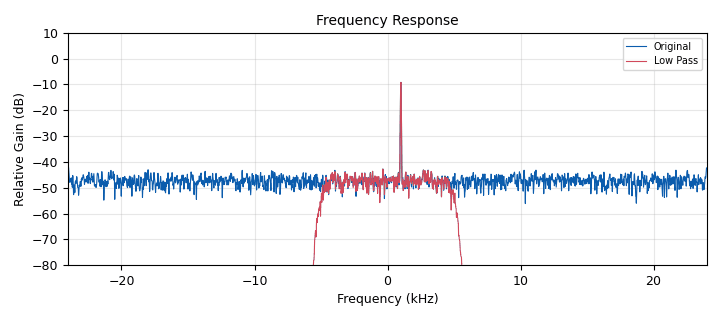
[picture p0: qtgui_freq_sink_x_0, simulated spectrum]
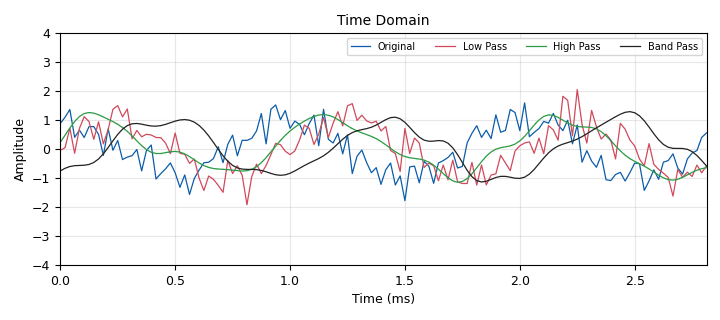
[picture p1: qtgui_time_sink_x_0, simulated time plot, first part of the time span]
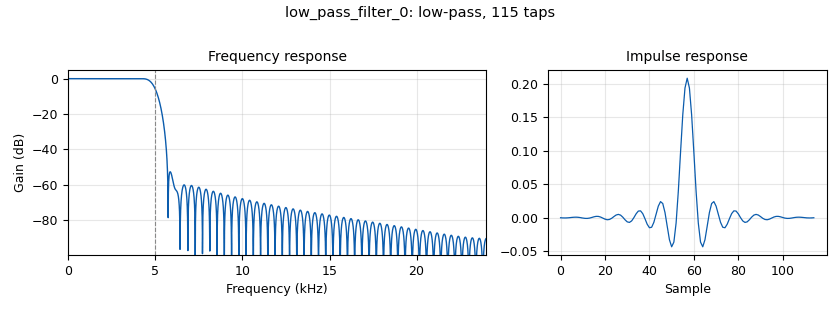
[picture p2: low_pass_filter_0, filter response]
options:
  parameters:
    author: Wylie Standage-Beier
    generate_options: qt_gui
    id: filter_demo_complex
    output_language: python
    title: Complex Filter Frequency Response
  states: {}

blocks:
- name: cutoff_freq
  id: variable_qtgui_range
  parameters:
    comment: Cuttoff Frequency
    gui_hint: 1,0,1,2
    label: Cutoff Frequency (Hz)
    start: '1000'
    step: '100'
    stop: '15000'
    value: '5000'
  states: {}
- name: frequency
  id: variable_qtgui_range
  parameters:
    comment: Frequency
    gui_hint: 0,0,1,2
    label: Frequency (Hz)
    start: '-samp_rate/2'
    step: '100'
    stop: samp_rate
    value: '1000'
  states: {}
- name: samp_rate
  id: variable
  parameters:
    comment: Sample Rate
    value: '48000'
  states: {}
- name: transition_width
  id: variable_qtgui_range
  parameters:
    comment: Transition Width
    gui_hint: 3,0,1,2
    label: Transition Width (Hz)
    start: '100'
    step: '100'
    stop: '5000'
    value: '1000'
  states: {}
- name: analog_noise_source_x_0
  id: analog_noise_source_x
  parameters:
    amp: '0.5'
    comment: White noise source
    noise_type: analog.GR_GAUSSIAN
    seed: '0'
    type: complex
  states: {}
- name: analog_sig_source_x_0
  id: analog_sig_source_x
  parameters:
    amp: '1'
    comment: Signal Source
    freq: frequency
    offset: '0'
    phase: '0'
    samp_rate: samp_rate
    type: complex
    waveform: analog.GR_COS_WAVE
  states: {}
- name: blocks_add_xx_0
  id: blocks_add_xx
  parameters:
    comment: Combine signals
    type: complex
  states: {}
- name: blocks_throttle2_0
  id: blocks_throttle2
  parameters:
    comment: Rate Limiting
    samples_per_second: samp_rate
    type: complex
  states: {}
- name: low_pass_filter_0
  id: low_pass_filter
  parameters:
    comment: Filter
    cutoff_freq: cutoff_freq
    decim: '1'
    gain: '1'
    samp_rate: samp_rate
    type: fir_filter_ccf
    width: transition_width
    win: window.WIN_HAMMING
  states: {}
- name: qtgui_freq_sink_x_0
  id: qtgui_freq_sink_x
  parameters:
    alpha2: '0.7'
    average: '0.2'
    bw: samp_rate
    comment: Frequency Response
    fc: '0'
    fftsize: '2048'
    grid: 'True'
    gui_hint: 4,0,2,3
    label1: Original
    label2: Low Pass
    name: '"Frequency Response"'
    nconnections: '2'
    type: complex
    width1: '2'
    width2: '2'
    ymin: '-80'
  states: {}
- name: qtgui_time_sink_x_0
  id: qtgui_time_sink_x
  parameters:
    comment: Time Domain
    grid: 'True'
    gui_hint: 6,0,2,3
    label1: Original
    label2: Low Pass
    label3: High Pass
    label4: Band Pass
    name: '"Time Domain"'
    nconnections: '2'
    size: '2048'
    srate: samp_rate
    type: complex
    ymax: '4'
    ymin: '-4'
  states: {}

connections:
- [analog_noise_source_x_0, '0', blocks_add_xx_0, '1']
- [analog_sig_source_x_0, '0', blocks_add_xx_0, '0']
- [blocks_add_xx_0, '0', blocks_throttle2_0, '0']
- [blocks_throttle2_0, '0', low_pass_filter_0, '0']
- [blocks_throttle2_0, '0', qtgui_freq_sink_x_0, '0']
- [blocks_throttle2_0, '0', qtgui_time_sink_x_0, '0']
- [low_pass_filter_0, '0', qtgui_freq_sink_x_0, '1']
- [low_pass_filter_0, '0', qtgui_time_sink_x_0, '1']

metadata:
  file_format: 1
  grc_version: 3.10.7.0
